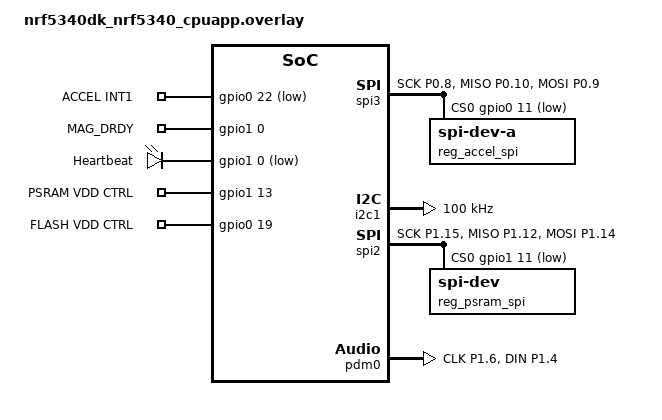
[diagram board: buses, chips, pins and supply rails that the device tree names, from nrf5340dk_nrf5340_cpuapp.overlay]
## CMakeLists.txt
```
cmake_minimum_required(VERSION 3.20.0)

find_package(Zephyr REQUIRED HINTS $ENV{ZEPHYR_BASE})
project(intelliVibe VERSION 1.0.0)

target_include_directories(app PRIVATE src/drivers/)
target_include_directories(app PRIVATE src/)
target_include_directories(app PRIVATE src/application/includes/)
target_include_directories(app PRIVATE src/DataProcessing/)

add_subdirectory(src/drivers)
add_subdirectory(src/DataProcessing)

target_sources(app PRIVATE
    src/main.c
    src/application/src/UserConfig.c
)
```

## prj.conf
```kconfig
# GPIO Enable
CONFIG_GPIO=y

# SPI Enable (Accel IIM-42352, PSRAM APS6404L)
CONFIG_SPI=y
CONFIG_SPI_ASYNC=y

# I2C Enable (Mag BMM350, Temp TMP112, Battery LTC3335)
CONFIG_I2C=y

# Audio subsystem — Zephyr DMIC API over nRF PDM peripheral (T5838 microphone)
CONFIG_AUDIO=y
CONFIG_AUDIO_DMIC=y

# Floating Point / DSP
CONFIG_CBPRINTF_FP_SUPPORT=y
CONFIG_FPU=y
CONFIG_CMSIS_DSP=y
CONFIG_CMSIS_DSP_TRANSFORM=y
CONFIG_NEWLIB_LIBC=y

# LOG Enable
CONFIG_LOG=y
CONFIG_LOG_MODE_IMMEDIATE=y
CONFIG_LOG_DEFAULT_LEVEL=3
CONFIG_CONSOLE=y
CONFIG_UART_CONSOLE=y
CONFIG_SERIAL=y
CONFIG_PRINTK=y

# BLE Config
CONFIG_BT=y
CONFIG_BT_PERIPHERAL=y
CONFIG_BT_DEVICE_NAME="IntelliVibe-BT"
CONFIG_BT_DEVICE_NAME_DYNAMIC=y
CONFIG_BT_GATT_NOTIFY_MULTIPLE=y
CONFIG_BT_GATT_CLIENT=y
CONFIG_BT_USER_DATA_LEN_UPDATE=y
CONFIG_BT_MAX_CONN=1
CONFIG_BT_GAP_AUTO_UPDATE_CONN_PARAMS=y

# BLE Buffer Config
CONFIG_BT_BUF_ACL_RX_SIZE=517
CONFIG_BT_BUF_ACL_TX_SIZE=39
CONFIG_BT_BUF_ACL_TX_COUNT=20
CONFIG_BT_BUF_EVT_RX_COUNT=21
CONFIG_BT_L2CAP_TX_MTU=517
CONFIG_BT_L2CAP_TX_BUF_COUNT=10
CONFIG_BT_CTLR_DATA_LENGTH_MAX=39

# Flash / NVS
CONFIG_FLASH=y
CONFIG_FLASH_PAGE_LAYOUT=y
CONFIG_NVS=y
CONFIG_REBOOT=y

# MCUboot / OTA
CONFIG_BOOTLOADER_MCUBOOT=y
CONFIG_NCS_SAMPLE_MCUMGR_BT_OTA_DFU=y
CONFIG_SECURE_BOOT=y

# System
CONFIG_SYSTEM_WORKQUEUE_STACK_SIZE=4096
```

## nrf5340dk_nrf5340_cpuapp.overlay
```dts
/*
 * DTS overlay for IntelliVibe-BT (new sensor variant)
 * Target: nrf5340dk_nrf5340_cpuapp
 *
 * Peripherals:
 *   SPI3 - IIM-42352 accelerometer (4 MHz, CS P0.11)
 *   SPI2 - APS6404L PSRAM (10 MHz, CS P1.11)
 *   I2C1 - BMM350 magnetometer, TMP112 temperature, LTC3335 coulomb counter
 *   PDM  - T5838 microphone via Zephyr DMIC API (pins P1.06 CLK / P1.04 DIN)
 *
 * GPIO interrupts:
 *   P0.22 - Accel INT1 (IIM-42352 FIFO watermark)
 *   P1.00 - Mag DRDY   (BMM350 data ready)
 *
 * Load switches:
 *   P1.13 - PSRAM VDD control (active high)
 *   P0.19 - Flash VDD control (active high)
 */

/ {
	aliases {
		heartbeat = &heartbeat;
		sw0 = &accel_INT1;
		sw1 = &MAG_DRDY;
		psramctrl = &psram_ls;
		flashctrl = &flash_ls;
	};

	interrupts {
		compatible = "gpio-keys";
		accel_INT1: accel_INT1 {
			gpios = <&gpio0 22 (GPIO_PULL_UP | GPIO_ACTIVE_LOW)>;
			label = "ACCEL INT1";
		};
		MAG_DRDY: MAG_DRDY {
			gpios = <&gpio1 0 GPIO_ACTIVE_HIGH>;    /* BMM350 INT: active-high push-pull, no pull needed */
			label = "MAG_DRDY";
		};
	};

	buttons {
		compatible = "gpio-keys";
		button0: button_0 {
			status = "disabled";
			gpios = <&gpio0 22 (GPIO_PULL_UP | GPIO_ACTIVE_LOW)>;
			label = "Push button 1";
		};
		button1: button_1 {
			status = "disabled";
			gpios = <&gpio1 0 GPIO_ACTIVE_HIGH>;    /* matches MAG_DRDY — BMM350 INT pin */
			label = "Push button 2";
		};
	};

	leds {
		heartbeat: heartbeat {
			gpios = <&gpio1 0 GPIO_ACTIVE_LOW>;
			label = "Heartbeat";
		};
	};

	load_switch {
		compatible = "gpio-keys";
		psram_ls: psram_ls {
			gpios = <&gpio1 13 GPIO_ACTIVE_HIGH>;
			label = "PSRAM VDD CTRL";
		};
		flash_ls: flash_ls {
			gpios = <&gpio0 19 GPIO_ACTIVE_HIGH>;
			label = "FLASH VDD CTRL";
		};
	};
};

&gpio_fwd {
	status = "disabled";
};

&pinctrl {
	spi_accel_default: spi_accel_default {
		group1 {
			psels = <NRF_PSEL(SPIM_SCK, 0, 8)>,
			        <NRF_PSEL(SPIM_MISO, 0, 10)>,
			        <NRF_PSEL(SPIM_MOSI, 0, 9)>;
		};
	};

	spi_accel_sleep: spi_accel_sleep {
		group1 {
			psels = <NRF_PSEL(SPIM_SCK, 0, 8)>,
			        <NRF_PSEL(SPIM_MISO, 0, 10)>,
			        <NRF_PSEL(SPIM_MOSI, 0, 9)>;
			low-power-enable;
		};
	};

	spi_PSRAM_default: spi_PSRAM_default {
		group1 {
			psels = <NRF_PSEL(SPIM_SCK, 1, 15)>,
			        <NRF_PSEL(SPIM_MISO, 1, 12)>,
			        <NRF_PSEL(SPIM_MOSI, 1, 14)>;
		};
	};

	spi_PSRAM_sleep: spi_PSRAM_sleep {
		group1 {
			psels = <NRF_PSEL(SPIM_SCK, 1, 15)>,
			        <NRF_PSEL(SPIM_MISO, 1, 12)>,
			        <NRF_PSEL(SPIM_MOSI, 1, 14)>;
			low-power-enable;
		};
	};

	pdm0_default: pdm0_default {
		group1 {
			psels = <NRF_PSEL(PDM_CLK, 1, 6)>,
			        <NRF_PSEL(PDM_DIN, 1, 4)>;
		};
	};

	pdm0_sleep: pdm0_sleep {
		group1 {
			psels = <NRF_PSEL(PDM_CLK, 1, 6)>,
			        <NRF_PSEL(PDM_DIN, 1, 4)>;
			low-power-enable;
		};
	};
};

/* Accelerometer SPI bus (IIM-42352) */
accel_spi: &spi3 {
	compatible = "nordic,nrf-spim";
	status = "okay";
	pinctrl-0 = <&spi_accel_default>;
	pinctrl-1 = <&spi_accel_sleep>;
	pinctrl-names = "default", "sleep";
	cs-gpios = <&gpio0 11 GPIO_ACTIVE_LOW>;
	reg_accel_spi: spi-dev-a@0 {
		reg = <0>;
	};
};

/* I2C bus (BMM350, TMP112, LTC3335) */
temp_i2c: &i2c1 {
	compatible = "nordic,nrf-twim";
	status = "okay";
	pinctrl-0 = <&i2c1_default>;
	pinctrl-1 = <&i2c1_sleep>;
	pinctrl-names = "default", "sleep";
	clock-frequency = <I2C_BITRATE_STANDARD>;
};

/* PSRAM SPI bus (APS6404L-SQH-ZR) */
psram_spi: &spi2 {
	compatible = "nordic,nrf-spim";
	status = "okay";
	pinctrl-0 = <&spi_PSRAM_default>;
	pinctrl-1 = <&spi_PSRAM_sleep>;
	pinctrl-names = "default", "sleep";
	cs-gpios = <&gpio1 11 GPIO_ACTIVE_LOW>;
	max-frequency = <DT_FREQ_M(64)>;
	reg_psram_spi: spi-dev@0 {
		reg = <0>;
	};
};

/* T5838 PDM microphone — Zephyr DMIC API (CONFIG_AUDIO_DMIC=y)
 * SELECT pin tied to GND → RIGHT channel → rising clock edge → PDM_CHAN_RIGHT
 * CLK: P1.06  DIN: P1.04
 */
dmic_dev: &pdm0 {
	status = "okay";
	pinctrl-0 = <&pdm0_default>;
	pinctrl-1 = <&pdm0_sleep>;
	pinctrl-names = "default", "sleep";
	clock-source = "PCLK32M_HFXO";
};
```

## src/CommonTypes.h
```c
/*******************************************************************************
********************************************************************************
Description:
This file defines common data types used across the IntelliVibe-BT firmware.
Includes sensor data structures, system settings, and BLE-related types.

Author(s): Magdalene Ratna, Claude (Anthropic)

Date created: Mar 2026
*******************************************************************************/

#ifndef COMMONTYPES_H
#define COMMONTYPES_H

#ifdef __cplusplus
extern "C" {
#endif

//******************************************************************************
// INCLUDE FILES
//******************************************************************************
#include <stdint.h>
#include <stdbool.h>

//******************************************************************************
// DEFINES
//******************************************************************************
#define RANGE_2G    1
#define RANGE_4G    2
#define RANGE_8G    3
#define RANGE_16G   4
#define RANGE_32G   5
#define RANGE_64G   6

//******************************************************************************
// DATA TYPES
//******************************************************************************
typedef enum
{
    SENSOR_ACCEL = 0,
    SENSOR_MAG,
    SENSOR_TEMP,
    SENSOR_PSRAM,
    SENSOR_AUDIO,
    SENSOR_BATTERY,
    SENSOR_NVS,
    SENSOR_COUNT
} SensorId_t;

typedef struct
{
    uint16_t XData;
    uint16_t YData;
    uint16_t ZData;
} RmsData_t;

typedef struct
{
    float XData;
    float YData;
    float ZData;
} OutputData_t;

typedef struct
{
    uint16_t Min;
    uint16_t Max;
} RpmRange_t;

#define SETTINGS_MAGIC_NUMBER   0xDEAD

typedef struct __attribute__((packed))
{
    uint16_t   MagicNumber;
    uint16_t   DInterval;
    uint16_t   HighSampleRate;
    uint16_t   HighSampleDuration;
    uint16_t   Interval;
    int8_t     LowerCutoff;
    uint8_t    AccelRange;
    uint8_t    MagAxis;
    uint8_t    NoPolePair;
    int8_t     TempOffset;
    RpmRange_t RpmRange;
    bool       EnRPM;
    uint16_t   Crc;
} SystemSettings_t;

typedef struct
{
    volatile bool VibStreamingEn;
    volatile bool MagStreamingEn;
} BLENotifyEn_t;

typedef struct
{
    uint16_t  CompanyCode;
    RmsData_t AccelRms;
    RmsData_t VelRms;
    RmsData_t MagRms;
    uint16_t  Temperature;
    uint16_t  Noise;
    uint16_t  BatLevel;
} AdvMfgData_t;

#ifdef __cplusplus
}
#endif

#endif /* COMMONTYPES_H */
```
